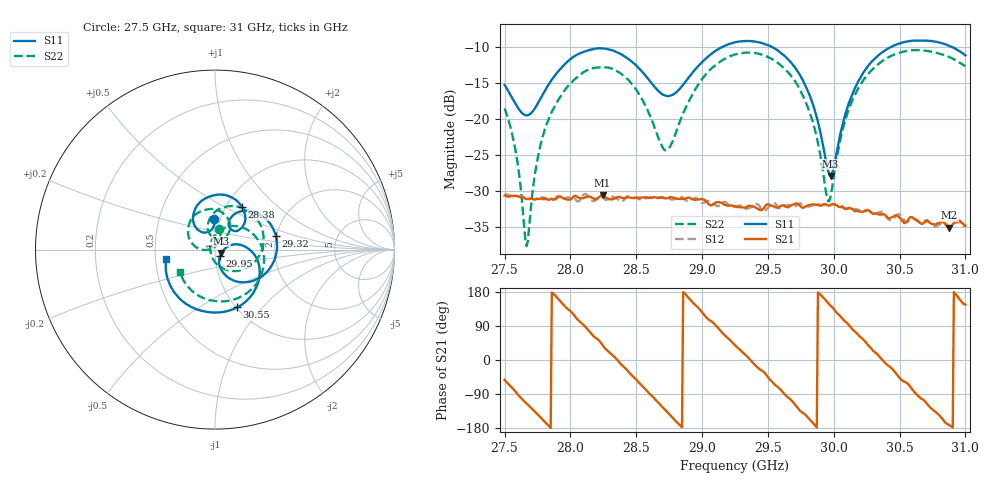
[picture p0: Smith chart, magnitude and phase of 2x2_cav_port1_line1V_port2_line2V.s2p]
!Created with skrf (http://scikit-rf.org).
# GHz S RI R 50.0
!freq ReS11 ImS11 ReS21 ImS21 ReS12 ImS12 ReS22 ImS22
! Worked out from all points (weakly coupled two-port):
!   401 points, 27.5 GHz to 31 GHz, reference 50 ohm
!   highest |S21| = -30.56 dB at 28.24 GHz (marker M1); lowest = -35.1 dB at 30.88 GHz (marker M2)
!   lowest |S11| = -27.9 dB at 29.98 GHz (marker M3), VSWR 1.08, Z = 53.6 - j2.04 ohm
!   |S11| at or under -10 dB: start of sweep to 29.15 GHz; 29.53 GHz to 30.44 GHz (906.5 MHz wide, 3.02 % of centre); 30.89477 GHz to end of sweep
!   |S22| runs from -37.7 to -10.4 dB; largest |S21 - S12| = 0.0022
!   S11 on the Smith chart (normalised r, x): 27.5 GHz: 0.93, +0.33; 28.38 GHz: 1.18, +0.61; 29.32 GHz: 1.98, +0.35; 29.95 GHz: 1.05, -0.08; 30.55 GHz: 1.01, -0.74; 31 GHz: 0.57, -0.07
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27.5  -0.00414 0.1723  0.0179 -0.0232  0.0188 -0.0236  0.0231 0.1161
27.5875  -0.00912 0.1251  0.0024 -0.029  0.00217 -0.0289  0.0246 0.0513
27.66625  -0.0381 0.0986  -0.0117 -0.0252  -0.0117 -0.0255  -0.00655 0.0113
27.745  -0.0766 0.0985  -0.0217 -0.0175  -0.0217 -0.0177  -0.0496 -0.00216
27.815  -0.1065 0.1225  -0.0272 -0.00647  -0.0273 -0.00586  -0.0896 0.00458
28.08625  -0.057 0.2832  -0.00326 0.0279  -0.00445 0.0283  -0.1405 0.1521
28.24375  0.0662 0.3018  0.0228 0.0189  0.0229 0.0175  -0.0494 0.2227
28.38375  0.1507 0.2383  0.0279 -0.00547  0.0263 -0.00518  0.0469 0.2007
28.6725  0.1155 0.103  -0.0116 -0.0258  -0.0114 -0.0259  0.0388 0.0605
28.7425  0.0903 0.1118  -0.0214 -0.0185  -0.0215 -0.0178  0.00391 0.0615
28.9875  0.1253 0.2069  -0.0182 0.0208  -0.0168 0.0206  -0.0246 0.1809
29.25  0.311 0.1395  0.0192 0.0157  0.0187 0.0159  0.1648 0.2264
29.32  0.3385 0.078  0.0232 0.00688  0.0233 0.00622  0.218 0.1877
29.635  0.2037 -0.1763  -0.00143 -0.0244  -0.000838 -0.0251  0.2015 -0.086
29.83625  0.0419 -0.1235  -0.0245 -0.00702  -0.024 -0.00702  0.0268 -0.0949
29.95  0.027 -0.0377  -0.0224 0.0114  -0.0224 0.0113  -0.0253 -0.0122
29.97625  0.0353 -0.019  -0.0202 0.0151  -0.0204 0.015  -0.0271 0.0102
30.13375  0.1402 0.0267  0.00225 0.0236  0.00194 0.0239  0.0499 0.1201
30.4225  0.2296 -0.2103  0.0195 -0.00581  0.0188 -0.0065  0.2701 -0.0163
30.55375  0.1235 -0.3217  0.00953 -0.0167  0.00853 -0.0172  0.2456 -0.1659
30.8775  -0.2448 -0.2088  -0.0174 -0.00242  -0.0177 -0.0021  -0.1062 -0.2473
31  -0.271 -0.0542  -0.015 0.0101  -0.0154 0.0096  -0.1957 -0.125
